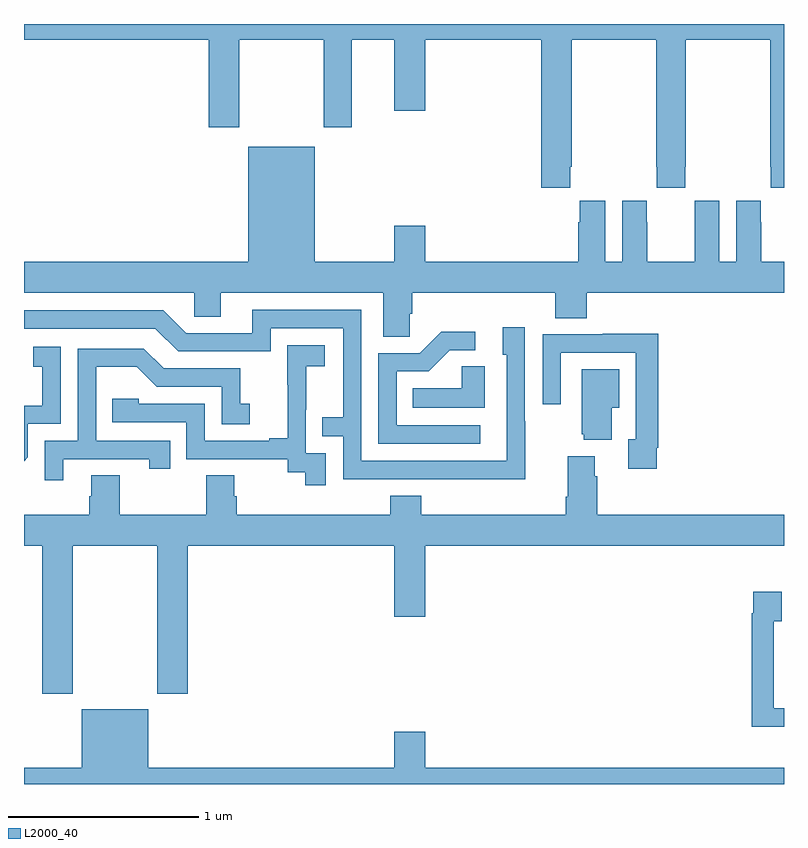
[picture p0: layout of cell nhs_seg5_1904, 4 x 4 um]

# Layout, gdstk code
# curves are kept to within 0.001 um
import gdstk
lib = gdstk.Library(unit=1e-6, precision=1e-09)
def P(c, l, *ps):  # polygons
    for p in ps: c.add(gdstk.Polygon(p, *l))
L2000_40 = (2000, 40)

nhs_seg5_1904 = lib.new_cell('nhs_seg5_1904')
P(nhs_seg5_1904, L2000_40, [(225.875,900.049),(225.882,900.049),(225.882,900.716),(226.327,900.716),(226.327,900.049),(226.329,900.049),(226.329,899.937),(226.479,899.937),(226.479,900.049),(226.482,900.049),(226.482,900.716),(226.927,900.716),(226.927,900.049),(226.929,900.049),(226.929,899.937),(227,899.937),(227,900.799),(223,900.799),(223,900.716),(223.973,900.716),(223.973,900.255),(224.133,900.255),(224.133,900.716),(224.578,900.716),(224.578,900.255),(224.725,900.255),(224.725,900.716),(224.948,900.716),(224.948,900.342),(225.112,900.342),(225.112,900.716),(225.722,900.716),(225.722,899.937),(225.875,899.937)],
  [(226.878,899.756),(226.878,899.869),(226.748,899.869),(226.748,899.548),(226.66,899.548),(226.66,899.869),(226.53,899.869),(226.53,899.756),(226.529,899.756),(226.529,899.548),(226.279,899.548),(226.279,899.756),(226.278,899.756),(226.278,899.869),(226.148,899.869),(226.148,899.548),(226.06,899.548),(226.06,899.869),(225.926,899.869),(225.926,899.756),(225.917,899.756),(225.917,899.548),(225.112,899.548),(225.112,899.737),(224.948,899.737),(224.948,899.548),(224.53,899.548),(224.53,900.154),(224.18,900.154),(224.18,899.548),(223,899.548),(223,899.384),(223.896,899.384),(223.896,899.257),(224.035,899.257),(224.035,899.384),(224.891,899.384),(224.891,899.152),(225.03,899.152),(225.03,899.275),(225.044,899.275),(225.044,899.384),(225.797,899.384),(225.797,899.251),(225.962,899.251),(225.962,899.384),(227,899.384),(227,899.548),(226.879,899.548),(226.879,899.756)],
  [(225.639,898.709),(225.636,898.709),(225.636,899.203),(225.521,899.203),(225.521,899.058),(225.54,899.058),(225.54,898.5),(224.775,898.5),(224.775,899.295),(224.201,899.295),(224.201,899.172),(223.854,899.172),(223.734,899.292),(223,899.292),(223,899.196),(223.692,899.196),(223.812,899.076),(224.298,899.076),(224.298,899.199),(224.679,899.199),(224.679,898.73),(224.569,898.73),(224.569,898.629),(224.679,898.629),(224.679,898.404),(225.639,898.403)],
  [(225.4,898.686),(224.961,898.686),(224.961,898.971),(225.13,898.971),(225.241,899.082),(225.376,899.082),(225.376,899.18),(225.197,899.18),(225.084,899.067),(224.865,899.067),(224.865,898.59),(225.4,898.59)],
  [(226.33,898.57),(226.337,898.57),(226.337,899.168),(226.045,899.168),(226.045,899.166),(225.729,899.166),(225.729,898.797),(225.825,898.797),(225.825,899.07),(226.221,899.07),(226.221,898.614),(226.181,898.614),(226.181,898.458),(226.33,898.458)],
  [(224.589,898.539),(224.484,898.539),(224.484,898.769),(224.486,898.769),(224.486,898.997),(224.584,898.997),(224.584,899.107),(224.386,899.107),(224.386,898.901),(224.387,898.901),(224.387,898.618),(224.291,898.618),(224.291,898.605),(223.95,898.605),(223.95,898.8),(223.605,898.8),(223.605,898.827),(223.465,898.827),(223.465,898.704),(223.854,898.704),(223.854,898.509),(224.388,898.509),(224.388,898.441),(224.481,898.441),(224.481,898.371),(224.589,898.371)],
  [(223.02,898.518),(223.02,898.695),(223.194,898.695),(223.194,899.101),(223.048,899.101),(223.048,898.995),(223.097,898.995),(223.097,898.791),(223,898.791),(223,898.498)],
  [(223.207,898.509),(223.658,898.509),(223.658,898.458),(223.769,898.458),(223.769,898.605),(223.38,898.605),(223.38,898.994),(223.594,898.994),(223.698,898.89),(224.04,898.89),(224.04,898.692),(224.188,898.692),(224.188,898.801),(224.139,898.801),(224.139,898.986),(223.735,898.986),(223.63,899.091),(223.284,899.091),(223.284,898.605),(223.11,898.605),(223.11,898.398),(223.207,898.398)],
  [(225.424,898.997),(225.303,898.997),(225.303,898.882),(225.046,898.882),(225.046,898.778),(225.424,898.778)],
  [(226.093,898.778),(226.132,898.778),(226.132,898.981),(225.935,898.981),(225.935,898.641),(225.947,898.641),(225.947,898.61),(226.093,898.61)],
  [(223.257,898.052),(223.702,898.052),(223.702,897.273),(223.862,897.273),(223.862,898.052),(224.948,898.052),(224.948,897.678),(225.112,897.678),(225.112,898.052),(227,898.052),(227,898.216),(226.016,898.216),(226.016,898.418),(226.003,898.418),(226.003,898.525),(225.863,898.525),(225.863,898.312),(225.851,898.312),(225.851,898.216),(225.092,898.216),(225.092,898.315),(224.927,898.315),(224.927,898.216),(224.12,898.216),(224.12,898.314),(224.107,898.314),(224.107,898.424),(223.96,898.424),(223.96,898.216),(223.503,898.216),(223.503,898.424),(223.355,898.424),(223.355,898.314),(223.343,898.314),(223.343,898.216),(223,898.216),(223,898.052),(223.097,898.052),(223.097,897.273),(223.257,897.273)],
  [(227,897.198),(226.947,897.198),(226.947,897.655),(226.987,897.655),(226.987,897.811),(226.839,897.811),(226.839,897.698),(226.831,897.698),(226.831,897.101),(227,897.101)],
  [(225.112,897.073),(224.948,897.073),(224.948,896.884),(223.654,896.884),(223.654,897.193),(223.304,897.193),(223.304,896.884),(223,896.884),(223,896.799),(227,896.799),(227,896.884),(225.112,896.884)])

lib.write_gds('nhs_seg5_1904.gds')
